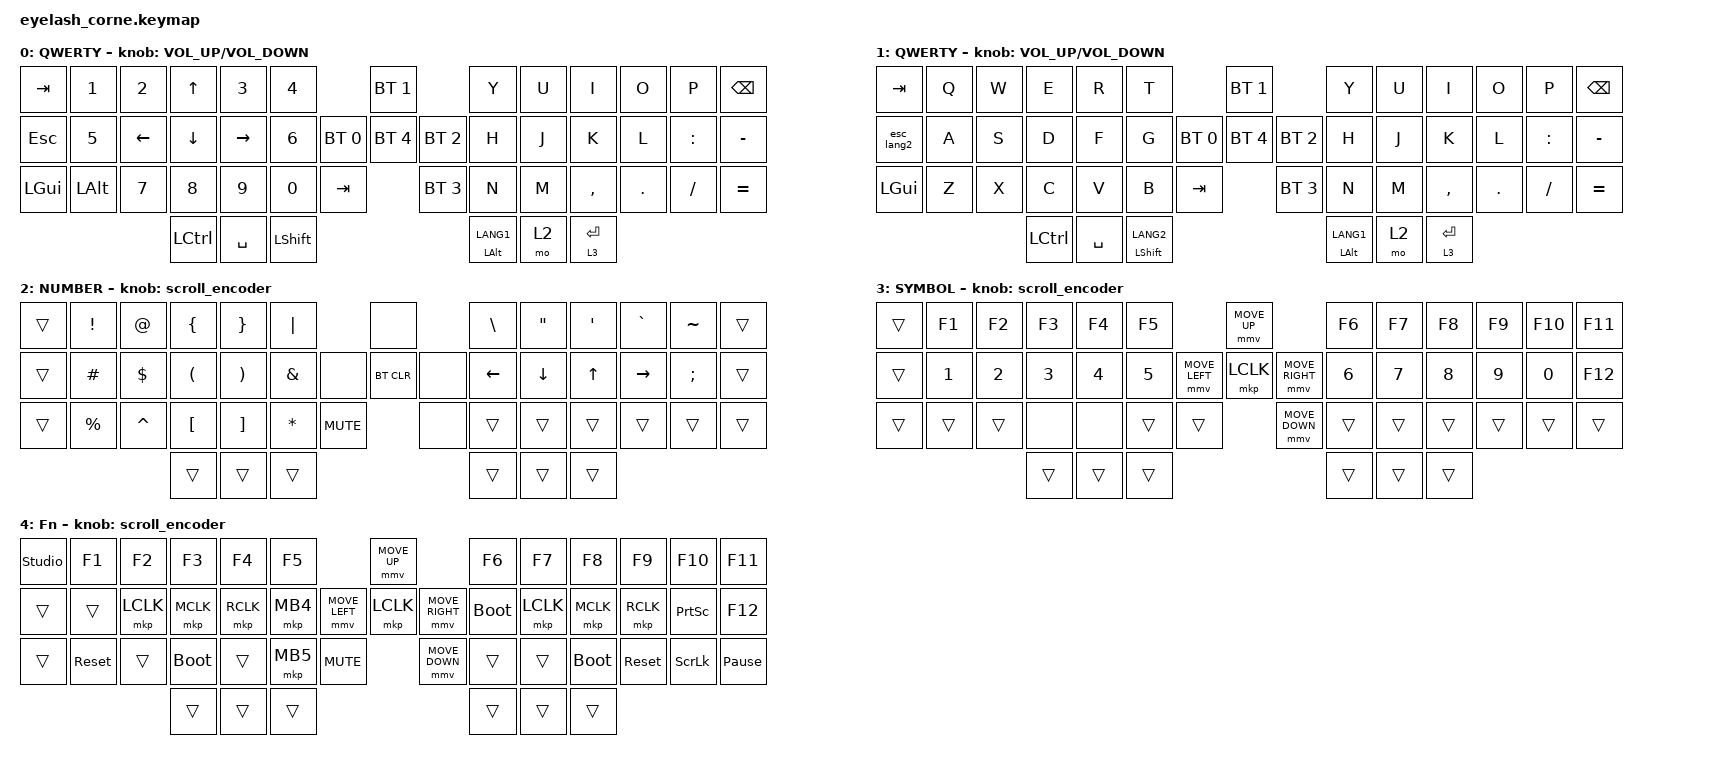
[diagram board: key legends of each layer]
#include <dt-bindings/zmk/mouse.h>
#include <input/processors.dtsi>
#include <behaviors.dtsi>
#include <dt-bindings/zmk/bt.h>
#include <dt-bindings/zmk/keys.h>
#include <dt-bindings/zmk/pointing.h>
#include <dt-bindings/zmk/rgb.h>

/*

   &mmv_input_listener {
       input-processors = <&zip_xy_scaler 2 1>;
   };

   &msc_input_listener {
       input-processors = <&zip_xy_scaler 2 1>;
   };

 */

#define ZMK_MOUSE_DEFAULT_MOVE_VAL 1200  // 600
#define ZMK_MOUSE_DEFAULT_SCRL_VAL 20    // 10

/ {
    behaviors {
        td0: td0 {
            compatible = "zmk,behavior-tap-dance";
            display-name = "Shift/Caps Lock Tap Dance";
            #binding-cells = <0>;
            bindings = <&kp LEFT_SHIFT>, <&kp CAPS>;
        };
    };

    rgb_encoder: rgb_encoder {
        compatible = "zmk,behavior-sensor-rotate";
        #sensor-binding-cells = <0>;
        bindings = <&rgb_ug RGB_BRI>, <&rgb_ug RGB_BRD>;
    };

    scroll_encoder: scroll_encoder {
        compatible = "zmk,behavior-sensor-rotate";
        #sensor-binding-cells = <0>;
        bindings = <&msc SCRL_DOWN>, <&msc SCRL_UP>;

        tap-ms = <30>;
    };

    macros {
        esc_lang2: esc_lang2 {
            compatible = "zmk,behavior-macro";
            #binding-cells = <0>;
            bindings = <&kp ESCAPE &kp LANG2>;
            label = "ESC_LANG2";
        };
    };

    keymap {
        compatible = "zmk,keymap";

        maple {
            display-name = "QWERTY";
            bindings = <
&kp TAB       &kp NUMBER_1  &kp NUMBER_2    &kp UP_ARROW      &kp NUMBER_3  &kp NUMBER_4                             &bt BT_SEL 1                &kp Y               &kp U  &kp I        &kp O    &kp P      &kp BSPC
&kp ESCAPE    &kp N5        &kp LEFT_ARROW  &kp DOWN_ARROW    &kp RIGHT     &kp NUMBER_6               &bt BT_SEL 0  &bt BT_SEL 4  &bt BT_SEL 2  &kp H               &kp J  &kp K        &kp L    &kp COLON  &kp MINUS
&kp LEFT_GUI  &kp LEFT_ALT  &kp N7          &kp N8            &kp N9        &kp N0          &kp TAB                  &bt BT_SEL 3                &kp N               &kp M  &kp COMMA    &kp DOT  &kp FSLH   &kp EQUAL
                                            &kp LEFT_CONTROL  &kp SPACE     &kp LEFT_SHIFT                                                       &mt LEFT_ALT LANG1  &mo 2  &lt 3 ENTER
            >;

            sensor-bindings = <&inc_dec_kp C_VOLUME_UP C_VOLUME_DOWN>;
        };

        default_layer {
            display-name = "QWERTY";
            bindings = <
&kp TAB       &kp Q  &kp W  &kp E             &kp R      &kp T                                          &bt BT_SEL 1                &kp Y               &kp U  &kp I        &kp O    &kp P      &kp BSPC
&esc_lang2    &kp A  &kp S  &kp D             &kp F      &kp G                            &bt BT_SEL 0  &bt BT_SEL 4  &bt BT_SEL 2  &kp H               &kp J  &kp K        &kp L    &kp COLON  &kp MINUS
&kp LEFT_GUI  &kp Z  &kp X  &kp C             &kp V      &kp B                 &kp TAB                  &bt BT_SEL 3                &kp N               &kp M  &kp COMMA    &kp DOT  &kp FSLH   &kp EQUAL
                            &kp LEFT_CONTROL  &kp SPACE  &mt LEFT_SHIFT LANG2                                                       &mt LEFT_ALT LANG1  &mo 2  &lt 3 ENTER
            >;

            sensor-bindings = <&inc_dec_kp C_VOLUME_UP C_VOLUME_DOWN>;
        };

        lower_layer {
            display-name = "NUMBER";
            bindings = <
&trans  &kp EXCLAMATION  &kp AT_SIGN  &kp LEFT_BRACE        &kp RIGHT_BRACE        &kp PIPE                            &none              &kp BACKSLASH  &kp DOUBLE_QUOTES  &kp SINGLE_QUOTE  &kp GRAVE  &kp TILDE      &trans
&trans  &kp HASH         &kp DOLLAR   &kp LEFT_PARENTHESIS  &kp RIGHT_PARENTHESIS  &kp AMPERSAND                &none  &bt BT_CLR  &none  &kp LEFT       &kp DOWN           &kp UP            &kp RIGHT  &kp SEMICOLON  &trans
&trans  &kp PERCENT      &kp CARET    &kp LEFT_BRACKET      &kp RIGHT_BRACKET      &kp ASTERISK   &kp C_MUTE           &none              &trans         &trans             &trans            &trans     &trans         &trans
                                      &trans                &trans                 &trans                                                 &trans         &trans             &trans
            >;

            sensor-bindings = <&scroll_encoder>;
        };

        raise_layer {
            display-name = "SYMBOL";
            bindings = <
&trans  &kp F1        &kp F2        &kp F3        &kp F4        &kp F5                            &mmv MOVE_UP                     &kp F6        &kp F7        &kp F8  &kp F9  &kp F10  &kp F11
&trans  &kp NUMBER_1  &kp NUMBER_2  &kp NUMBER_3  &kp NUMBER_4  &kp N5            &mmv MOVE_LEFT  &mkp LCLK       &mmv MOVE_RIGHT  &kp NUMBER_6  &kp NUMBER_7  &kp N8  &kp N9  &kp N0   &kp F12
&trans  &trans        &trans        &none         &none         &trans  &trans                    &mmv MOVE_DOWN                   &trans        &trans        &trans  &trans  &trans   &trans
                                    &trans        &trans        &trans                                                             &trans        &trans        &trans
            >;

            sensor-bindings = <&scroll_encoder>;
        };

        layer_3 {
            display-name = "Fn";
            bindings = <
&studio_unlock  &kp F1      &kp F2     &kp F3       &kp F4     &kp F5                                  &mmv MOVE_UP                     &kp F6       &kp F7     &kp F8       &kp F9      &kp F10          &kp F11
&trans          &trans      &mkp LCLK  &mkp MCLK    &mkp RCLK  &mkp MB4                &mmv MOVE_LEFT  &mkp LCLK       &mmv MOVE_RIGHT  &bootloader  &mkp LCLK  &mkp MCLK    &mkp RCLK   &kp PRINTSCREEN  &kp F12
&trans          &sys_reset  &trans     &bootloader  &trans     &mkp MB5  &kp C_MUTE                    &mmv MOVE_DOWN                   &trans       &trans     &bootloader  &sys_reset  &kp SCROLLLOCK   &kp PAUSE_BREAK
                                       &trans       &trans     &trans                                                                   &trans       &trans     &trans
            >;

            sensor-bindings = <&scroll_encoder>;
        };
    };
};
